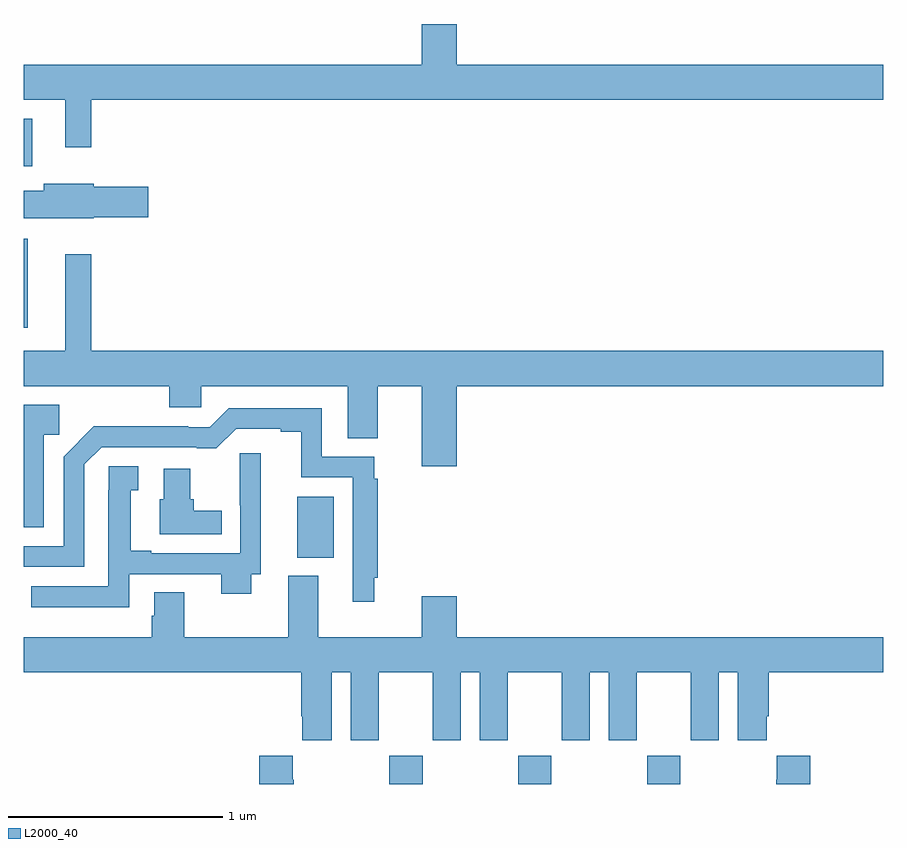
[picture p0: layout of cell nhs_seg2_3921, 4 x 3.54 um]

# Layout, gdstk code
import gdstk
lib = gdstk.Library(unit=1e-6, precision=1e-09)
def R(c, l, rs):  # rectangles x0, y0, x1, y1
    for r in rs: c.add(gdstk.rectangle(r[:2], r[2:], *l))
def A(c, l, x, y, w, h, nx, ny, dx, dy):  # array of equal rectangles
    R(c, l, [(x+i*dx, y+j*dy, x+i*dx+w, y+j*dy+h) for i in range(nx) for j in range(ny)])
def P(c, l, *ps):  # polygons
    for p in ps: c.add(gdstk.Polygon(p, *l))
L2000_40 = (2000, 40)

nhs_seg2_3921 = lib.new_cell('nhs_seg2_3921')
A(nhs_seg2_3921, L2000_40, 320.701, 629.8, 0.155, 0.132, 3, 1, 0.6, 0)
R(nhs_seg2_3921, L2000_40, [(320.273,630.854,320.443,631.138), (319,631.923,319.018,632.338), (319,632.675,319.039,632.896)])
P(nhs_seg2_3921, L2000_40, [(319.315,632.984),(323,632.984),(323,633.148),(321.016,633.148),(321.016,633.337),(320.852,633.337),(320.852,633.148),(319,633.148),(319,632.984),(319.193,632.984),(319.193,632.763),(319.315,632.763)],
  [(319.326,632.438),(319.579,632.438),(319.579,632.58),(319.326,632.58),(319.326,632.593),(319.094,632.593),(319.094,632.561),(319,632.561),(319,632.432),(319.326,632.432)],
  [(321.016,631.652),(323,631.652),(323,631.816),(319.315,631.816),(319.315,632.266),(319.193,632.266),(319.193,631.816),(319,631.816),(319,631.652),(319.676,631.652),(319.676,631.554),(319.827,631.554),(319.827,631.652),(320.507,631.652),(320.507,631.408),(320.647,631.408),(320.647,631.652),(320.852,631.652),(320.852,631.278),(321.016,631.278)],
  [(319.092,631.426),(319.166,631.426),(319.166,631.564),(319,631.564),(319,630.996),(319.092,630.996)],
  [(320.631,630.76),(320.648,630.76),(320.648,631.22),(320.631,631.22),(320.631,631.323),(320.388,631.323),(320.388,631.548),(319.953,631.548),(319.866,631.461),(319.766,631.461),(319.766,631.466),(319.326,631.466),(319.185,631.324),(319.185,630.906),(319,630.906),(319,630.81),(319.281,630.81),(319.281,631.287),(319.362,631.368),(319.805,631.368),(319.805,631.363),(319.897,631.363),(319.988,631.454),(320.195,631.454),(320.195,631.44),(320.291,631.44),(320.291,631.227),(320.532,631.227),(320.532,630.648),(320.631,630.648)],
  [(319.491,630.777),(319.919,630.777),(319.919,630.686),(320.059,630.686),(320.059,630.777),(320.104,630.777),(320.104,631.339),(320.006,631.339),(320.006,631.098),(320.007,631.098),(320.007,630.873),(319.594,630.873),(319.594,630.886),(319.498,630.886),(319.498,631.166),(319.534,631.166),(319.534,631.279),(319.396,631.279),(319.396,631.166),(319.394,631.166),(319.394,630.72),(319.035,630.72),(319.035,630.623),(319.491,630.623)],
  [(319.922,631.072),(319.792,631.072),(319.792,631.125),(319.774,631.125),(319.774,631.267),(319.652,631.267),(319.652,631.125),(319.634,631.125),(319.634,630.963),(319.922,630.963)],
  [(320.434,630.32),(320.522,630.32),(320.522,630.003),(320.653,630.003),(320.653,630.32),(320.903,630.32),(320.903,630.003),(321.034,630.003),(321.034,630.32),(321.122,630.32),(321.122,630.003),(321.253,630.003),(321.253,630.32),(321.503,630.32),(321.503,630.003),(321.634,630.003),(321.634,630.32),(321.722,630.32),(321.722,630.003),(321.853,630.003),(321.853,630.32),(322.103,630.32),(322.103,630.003),(322.234,630.003),(322.234,630.32),(322.322,630.32),(322.322,630.003),(322.459,630.003),(322.459,630.115),(322.466,630.115),(322.466,630.32),(323,630.32),(323,630.484),(321.016,630.484),(321.016,630.673),(320.852,630.673),(320.852,630.484),(320.371,630.484),(320.371,630.769),(320.231,630.769),(320.231,630.484),(319.747,630.484),(319.747,630.692),(319.607,630.692),(319.607,630.582),(319.595,630.582),(319.595,630.484),(319,630.484),(319,630.32),(320.291,630.32),(320.291,630.115),(320.297,630.115),(320.297,630.003),(320.434,630.003)],
  [(320.256,629.819),(320.251,629.819),(320.251,629.932),(320.096,629.932),(320.096,629.8),(320.256,629.8)],
  [(322.661,629.932),(322.505,629.932),(322.505,629.819),(322.501,629.819),(322.501,629.8),(322.661,629.8)])

lib.write_gds('nhs_seg2_3921.gds')
